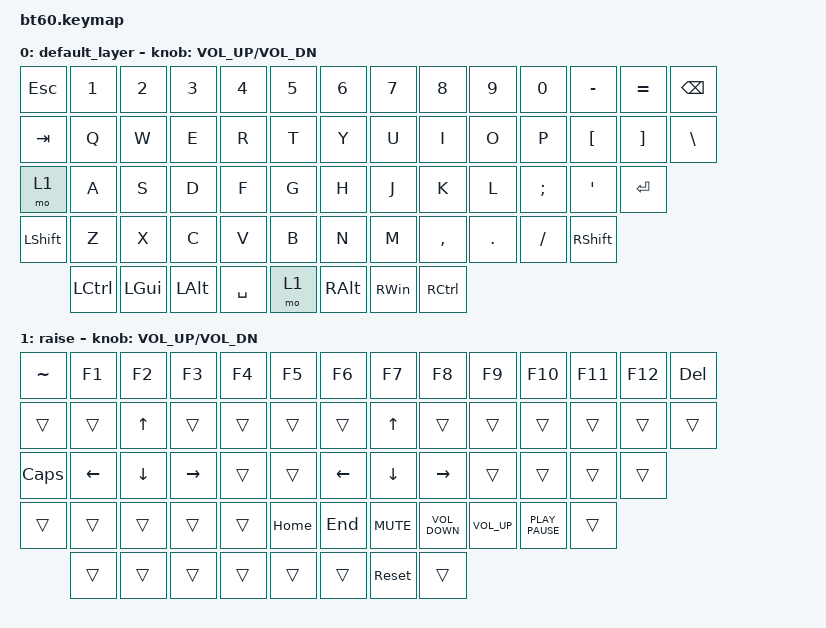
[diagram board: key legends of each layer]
#include <behaviors.dtsi>
#include <dt-bindings/zmk/keys.h>

/ {
    keymap {
        compatible = "zmk,keymap";

        default_layer {
            // ------------------------------------------------------------------------------------------
            // |  `  |  1  |  2  |  3  |  4  |  5  |  6  |  7  |  8  |  9  |  0  |  -  |  =  |   BKSP
            // | TAB  |  Q  |  W  |  E  |  R  |  T  |  Y  |  U  |  I  |  O  |  P  |  [  |  ]  |   |
            // | CAPS  |  A  |  S  |  D  |  F  |  G  |  H  |  J  |  K  |  L  |  ;  |  '  |     ENTER
            // |  SHIFT    |  Z  |  X  |  C  |  V  |  B  |  N  |  M  |  ,  |  .  | /   |      SHIFT
            // |  CTL  |  WIN  |  ALT  |            SPACE               | ALT | 1    |  MENU    |  CTRL
            // ------------------------------------------------------------------------------------------

            bindings = <
&kp ESC    &kp N1     &kp N2    &kp N3    &kp N4     &kp N5  &kp N6         &kp N7    &kp N8     &kp N9   &kp N0    &kp MINUS  &kp EQUAL  &kp BSPC
&kp TAB    &kp Q      &kp W     &kp E     &kp R      &kp T   &kp Y          &kp U     &kp I      &kp O    &kp P     &kp LBKT   &kp RBKT   &kp BSLH
&mo 1      &kp A      &kp S     &kp D     &kp F      &kp G   &kp H          &kp J     &kp K      &kp L    &kp SEMI  &kp SQT    &kp RET
&kp LSHFT  &kp Z      &kp X     &kp C     &kp V      &kp B   &kp N          &kp M     &kp COMMA  &kp DOT  &kp FSLH  &kp RSHFT
           &kp LCTRL  &kp LGUI  &kp LALT  &kp SPACE  &mo 1   &kp RIGHT_ALT  &kp RWIN  &kp RCTRL
            >;

            sensor-bindings = <&inc_dec_kp C_VOL_UP C_VOL_DN>;
        };

        raise {
            bindings = <
&kp TILDE     &kp F1    &kp F2    &kp F3     &kp F4  &kp F5    &kp F6    &kp F7      &kp F8             &kp F9           &kp F10           &kp F11  &kp F12  &kp DEL
&trans        &trans    &kp UP    &trans     &trans  &trans    &trans    &kp UP      &trans             &trans           &trans            &trans   &trans   &trans
&kp CAPSLOCK  &kp LEFT  &kp DOWN  &kp RIGHT  &trans  &trans    &kp LEFT  &kp DOWN    &kp RIGHT          &trans           &trans            &trans   &trans
&trans        &trans    &trans    &trans     &trans  &kp HOME  &kp END   &kp K_MUTE  &kp K_VOLUME_DOWN  &kp K_VOLUME_UP  &kp K_PLAY_PAUSE  &trans
              &trans    &trans    &trans     &trans  &trans    &trans    &sys_reset  &trans
            >;

            sensor-bindings = <&inc_dec_kp C_VOL_UP C_VOL_DN>;
        };
    };
};
